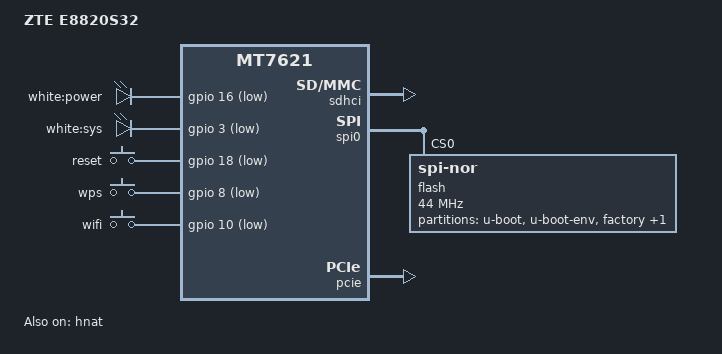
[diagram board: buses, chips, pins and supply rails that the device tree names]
#include "mt7621.dtsi"

#include <dt-bindings/gpio/gpio.h>
#include <dt-bindings/input/input.h>

/ {
	compatible = "zte,e8820s32", "mediatek,mt7621-soc";
	model = "ZTE E8820S32";

	aliases {
		led-boot = &led_power;
		led-failsafe = &led_power;
		led-running = &led_power;
		led-upgrade = &led_power;
		label-mac-device = &gmac0;
	};

	chosen {
		bootargs = "console=ttyS0,115200";
	};

	leds {
		compatible = "gpio-leds";

		led_power: power {
			label = "white:power";
			gpios = <&gpio 16 GPIO_ACTIVE_LOW>;
		};

		led_sys: sys {
			label = "white:sys";
			gpios = <&gpio 3 GPIO_ACTIVE_LOW>;
		};


	};

	keys {
		compatible = "gpio-keys";

		reset {
			label = "reset";
			gpios = <&gpio 18 GPIO_ACTIVE_LOW>;
			linux,code = <KEY_RESTART>;
		};

		wps {
			label = "wps";
			gpios = <&gpio 8 GPIO_ACTIVE_LOW>;
			linux,code = <KEY_WPS_BUTTON>;
		};

		wifi {
			label = "wifi";
			gpios = <&gpio 10 GPIO_ACTIVE_LOW>;
			linux,code = <KEY_RFKILL>;
		};
	};
};

&sdhci {
	status = "okay";
};

&spi0 {
	status = "okay";

	flash@0 {
		compatible = "jedec,spi-nor";
		reg = <0>;
		spi-max-frequency = <44000000>;
		broken-flash-reset;

		partitions {
			compatible = "fixed-partitions";
			#address-cells = <1>;
			#size-cells = <1>;

			partition@0 {
				label = "u-boot";
				reg = <0x0 0x30000>;
				read-only;
			};

			partition@30000 {
				label = "u-boot-env";
				reg = <0x30000 0x10000>;
				read-only;
			};

			factory: partition@40000 {
				label = "factory";
				reg = <0x40000 0x10000>;
				read-only;
			};

			partition@50000 {
				compatible = "denx,uimage";
				label = "firmware";
				reg = <0x50000 0x1fb0000>;
			};
		};
	};
};

&pcie {
	status = "okay";
};

&pcie0 {
	mt76@0,0 {
		reg = <0x0000 0 0 0 0>;
		mediatek,mtd-eeprom = <&factory 0x8000>;
		ieee80211-freq-limit = <5000000 6000000>;
	};
};

&pcie1 {
	mt76@0,0 {
		reg = <0x0000 0 0 0 0>;
		mediatek,mtd-eeprom = <&factory 0x0000>;
	};
};

&gmac0 {
	nvmem-cells = <&macaddr_factory_e000>;
	nvmem-cell-names = "mac-address";
};

&gmac1 {
	nvmem-cells = <&macaddr_factory_e006>;
	nvmem-cell-names = "mac-address";
};

&hnat {
        mtketh-wan = "eth1";
        mtketh-ppd = "eth0";
        mtketh-lan = "eth0";
	ext-devices = "wlan0","wlan1","rax0","ra0", "rai0","apclii0","apclix0", "apcli0","usb0","wwan0","wwan0.1","wwan0_1";
        mtketh-max-gmac = <2>;
        status = "okay";
};

&gsw {
	mediatek,mdio = <&mdio>;
	mediatek,portmap = "llllw";
	mediatek,mcm;
	mt7530,direct-phy-access;

	resets = <&rstctrl 2>;
	reset-names = "mcm";

	port5: port@5 {
		compatible = "mediatek,mt753x-port";
		reg = <5>;
		phy-mode = "rgmii";
		fixed-link {
			speed = <1000>;
			full-duplex;
		};
	};

	port6: port@6 {
		compatible = "mediatek,mt753x-port";
		reg = <6>;
		phy-mode = "rgmii";
		fixed-link {
			speed = <1000>;
			full-duplex;
		};
	};

	mdio-bus {
		#address-cells = <1>;
		#size-cells = <0>;
	};
};


&switch0 {
	/* must delete compatible property */
	/delete-property/ compatible;
};

&state_default {
	gpio {
		groups = "jtag", "uart2", "wdt";
		function = "gpio";
	};
};

&factory {
	compatible = "nvmem-cells";
	#address-cells = <1>;
	#size-cells = <1>;

	macaddr_factory_e000: macaddr@e000 {
		reg = <0xe000 0x6>;
	};

	macaddr_factory_e006: macaddr@e006 {
		reg = <0xe006 0x6>;
	};
};
